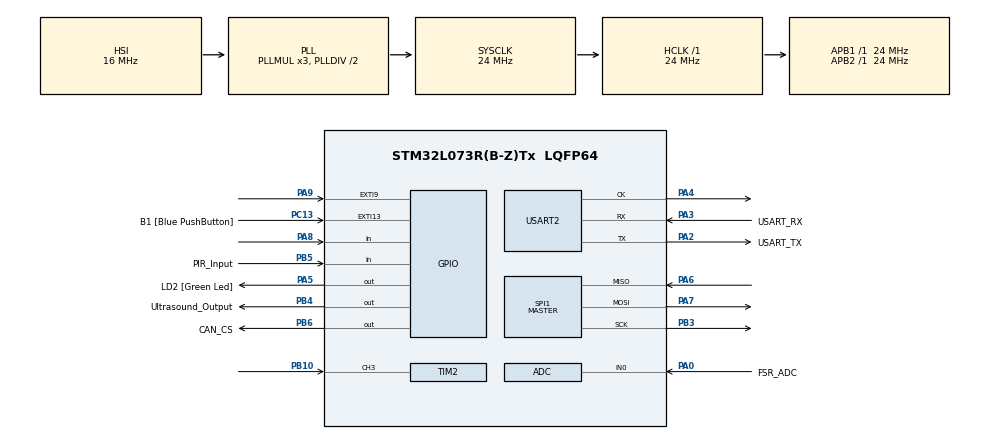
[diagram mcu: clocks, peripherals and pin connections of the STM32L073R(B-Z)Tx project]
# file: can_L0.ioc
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Mcu.Family=STM32L0
Mcu.Name=STM32L073R(B-Z)Tx
Mcu.Package=LQFP64
NVIC.TIM2_IRQn=true\:0\:0\:false\:false\:true\:true\:true\:true
NVIC.TIM3_IRQn=true\:0\:0\:false\:false\:true\:true\:true\:true
PA0.GPIO_Label=FSR_ADC
PA0.Mode=IN0
PA0.Signal=ADC_IN0
PA13.GPIO_Label=TMS
PA13.Mode=Serial_Wire
PA13.Signal=SYS_SWDIO
PA14.GPIO_Label=TCK
PA14.Mode=Serial_Wire
PA14.Signal=SYS_SWCLK
PA2.GPIO_Label=USART_TX
PA2.Mode=Synchronous
PA2.Signal=USART2_TX
PA3.GPIO_Label=USART_RX
PA3.Mode=Synchronous
PA3.Signal=USART2_RX
PA4.Mode=Synchronous
PA4.Signal=USART2_CK
PA5.GPIO_Label=LD2 [Green Led]
PA5.Signal=GPIO_Output
PA6.Mode=Full_Duplex_Master
PA6.Signal=SPI1_MISO
PA7.Mode=Full_Duplex_Master
PA7.Signal=SPI1_MOSI
PA8.Signal=GPIO_Input
PA9.Signal=GPXTI9
PB10.Signal=S_TIM2_CH3
PB3.Mode=Full_Duplex_Master
PB3.Signal=SPI1_SCK
PB4.GPIO_Label=Ultrasound_Output
PB4.Signal=GPIO_Output
PB5.GPIO_Label=PIR_Input
PB5.Signal=GPIO_Input
PB6.GPIO_Label=CAN_CS
PB6.GPIO_Speed=GPIO_SPEED_FREQ_MEDIUM
PB6.PinState=GPIO_PIN_SET
PB6.Signal=GPIO_Output
PC13.GPIO_Label=B1 [Blue PushButton]
PC13.GPIO_ModeDefaultEXTI=GPIO_MODE_IT_FALLING
PC13.Signal=GPXTI13
PC14-OSC32_IN.Mode=LSE-External-Oscillator
PC14-OSC32_IN.Signal=RCC_OSC32_IN
PC15-OSC32_OUT.Mode=LSE-External-Oscillator
PC15-OSC32_OUT.Signal=RCC_OSC32_OUT
PH0-OSC_IN.GPIO_Label=MCO
PH0-OSC_IN.Mode=HSE-External-Clock-Source
PH0-OSC_IN.Signal=RCC_OSC_IN
ProjectManager.HeapSize=0x200
ProjectManager.StackSize=0x400
ProjectManager.TargetToolchain=MDK-ARM V5.32
RCC.AHBFreq_Value=24000000
RCC.APB1Freq_Value=24000000
RCC.APB1TimFreq_Value=24000000
RCC.APB2Freq_Value=24000000
RCC.APB2TimFreq_Value=24000000
RCC.HCLKFreq_Value=24000000
RCC.HSE_VALUE=8000000
RCC.HSI16_VALUE=16000000
RCC.HSI48_VALUE=48000000
RCC.HSI_VALUE=16000000
RCC.MSI_VALUE=2097000
RCC.SYSCLKFreq_VALUE=24000000
RCC.SYSCLKSource=RCC_SYSCLKSOURCE_PLLCLK
RCC.VCOOutputFreq_Value=48000000
SH.S_TIM2_CH3.0=TIM2_CH3,Input_Capture3_from_TI3
SPI1.Direction=SPI_DIRECTION_2LINES
SPI1.Mode=SPI_MODE_MASTER
SPI1.VirtualType=VM_MASTER
TIM2.Channel-Input_Capture3_from_TI3=TIM_CHANNEL_3
TIM2.Prescaler=8-1
TIM3.Period=1000-1
TIM3.Prescaler=24000-1
USART2.VirtualMode-Synchronous=VM_SYNC
VP_TIM2_VS_ClockSourceINT.Mode=Internal
VP_TIM3_VS_ClockSourceINT.Mode=Internal
board=NUCLEO-L073RZ

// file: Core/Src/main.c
/* USER CODE BEGIN Header */
/**
  ******************************************************************************
  * @file           : main.c
  * @brief          : Main program body
  ******************************************************************************
  * @attention
  *
  * Copyright (c) 2025 STMicroelectronics.
  * All rights reserved.
  *
  * This software is licensed under terms that can be found in the LICENSE file
  * in the root directory of this software component.
  * If no LICENSE file comes with this software, it is provided AS-IS.
  *
  ******************************************************************************
  */
/* USER CODE END Header */
#include "main.h"
#include "adc.h"
#include "spi.h"
#include "tim.h"
#include "usart.h"
#include "gpio.h"

/* USER CODE BEGIN Includes */
#include "CANSPI.h"
#include "MCP2515.h"
#include "stdio.h"
#include "string.h"
/* USER CODE END Includes */

/* USER CODE BEGIN PV */

volatile uCAN_MSG rxMessage;
extern ADC_HandleTypeDef hadc;
volatile uint32_t adcValue;
volatile float Vout;
volatile static float pressure = 0.0f;

volatile static uint8_t bReadHCSR501 = 0;
volatile static uint32_t IC_Val1 = 0;
volatile static uint32_t IC_Val2 = 0;
volatile static uint32_t Difference = 0;
volatile static uint8_t Is_First_Captured = 0;  // is the first value captured
volatile static uint8_t Distance  = 0;
volatile uint8_t DistanceReady = 0;
volatile uint16_t no_activity_counter = 0;
volatile uint8_t tim3_flag = 0;
/* USER CODE END PV */

void SystemClock_Config(void);
/* USER CODE BEGIN PFP */
void delay (uint16_t time);
void HAL_TIM_IC_CaptureCallback(TIM_HandleTypeDef *htim);
void HCSR04_Read(void);
uint8_t FSR_Check (void);
uint8_t Ultrasonic_Check(void);
void check_and_send(void);
void enter_sleep_mode(void);
/* USER CODE END PFP */

int main(void)
{

  /* MCU Configuration--------------------------------------------------------*/

  /* Reset of all peripherals, Initializes the Flash interface and the Systick. */
  HAL_Init();

  /* Configure the system clock */
  SystemClock_Config();

  /* Initialize all configured peripherals */
  MX_GPIO_Init();
  MX_SPI1_Init();
  MX_USART2_Init();
  MX_ADC_Init();
  MX_TIM2_Init();
  MX_TIM3_Init();
  /* USER CODE BEGIN 2 */
  CANSPI_Initialize();
	HAL_TIM_IC_Start_IT(&htim2, TIM_CHANNEL_3);
  HAL_TIM_Base_Start_IT(&htim3);

  /* USER CODE END 2 */

  /* Infinite loop */
  /* USER CODE BEGIN WHILE */
  while (1) {
    if (tim3_flag) {
      tim3_flag = 0;
      check_and_send();
    }
  }
    /* USER CODE END WHILE */

}

void SystemClock_Config(void)
{
  RCC_OscInitTypeDef RCC_OscInitStruct = {0};
  RCC_ClkInitTypeDef RCC_ClkInitStruct = {0};
  RCC_PeriphCLKInitTypeDef PeriphClkInit = {0};

  /** Configure the main internal regulator output voltage
  */
  __HAL_PWR_VOLTAGESCALING_CONFIG(PWR_REGULATOR_VOLTAGE_SCALE1);

  /** Initializes the RCC Oscillators according to the specified parameters
  * in the RCC_OscInitTypeDef structure.
  */
  RCC_OscInitStruct.OscillatorType = RCC_OSCILLATORTYPE_HSI;
  RCC_OscInitStruct.HSIState = RCC_HSI_ON;
  RCC_OscInitStruct.HSICalibrationValue = RCC_HSICALIBRATION_DEFAULT;
  RCC_OscInitStruct.PLL.PLLState = RCC_PLL_ON;
  RCC_OscInitStruct.PLL.PLLSource = RCC_PLLSOURCE_HSI;
  RCC_OscInitStruct.PLL.PLLMUL = RCC_PLLMUL_3;
  RCC_OscInitStruct.PLL.PLLDIV = RCC_PLLDIV_2;
  if (HAL_RCC_OscConfig(&RCC_OscInitStruct) != HAL_OK)
  {
    Error_Handler();
  }

  /** Initializes the CPU, AHB and APB buses clocks
  */
  RCC_ClkInitStruct.ClockType = RCC_CLOCKTYPE_HCLK|RCC_CLOCKTYPE_SYSCLK
                              |RCC_CLOCKTYPE_PCLK1|RCC_CLOCKTYPE_PCLK2;
  RCC_ClkInitStruct.SYSCLKSource = RCC_SYSCLKSOURCE_PLLCLK;
  RCC_ClkInitStruct.AHBCLKDivider = RCC_SYSCLK_DIV1;
  RCC_ClkInitStruct.APB1CLKDivider = RCC_HCLK_DIV1;
  RCC_ClkInitStruct.APB2CLKDivider = RCC_HCLK_DIV1;

  if (HAL_RCC_ClockConfig(&RCC_ClkInitStruct, FLASH_LATENCY_1) != HAL_OK)
  {
    Error_Handler();
  }
  PeriphClkInit.PeriphClockSelection = RCC_PERIPHCLK_USART2;
  PeriphClkInit.Usart2ClockSelection = RCC_USART2CLKSOURCE_PCLK1;
  if (HAL_RCCEx_PeriphCLKConfig(&PeriphClkInit) != HAL_OK)
  {
    Error_Handler();
  }
}

/* USER CODE BEGIN 4 */
void delay (uint16_t time)
{
    __HAL_TIM_SET_COUNTER(&htim2, 0);
    while (__HAL_TIM_GET_COUNTER (&htim2) < time);
}

void HAL_TIM_PeriodElapsedCallback(TIM_HandleTypeDef *htim)
{
  if(htim->Instance == htim3.Instance){
    tim3_flag= 1;
  }
}

void HAL_TIM_IC_CaptureCallback(TIM_HandleTypeDef *htim) // 초음파 센서 거리 계산 비동기 로직
{ // INT when detected Ultrasound sig
    if (htim->Channel == HAL_TIM_ACTIVE_CHANNEL_3)  // if the interrupt source is channel1
    {
        if (Is_First_Captured==0) // if the first value is not captured
        {
            IC_Val1 = HAL_TIM_ReadCapturedValue(htim, TIM_CHANNEL_3); // read the first value
            Is_First_Captured = 1;
            __HAL_TIM_SET_CAPTUREPOLARITY(htim, TIM_CHANNEL_3, TIM_INPUTCHANNELPOLARITY_FALLING);
        }
        else if (Is_First_Captured==1)   // if the first is already captured
        {
            IC_Val2 = HAL_TIM_ReadCapturedValue(htim, TIM_CHANNEL_3);  // read second value
            __HAL_TIM_SET_COUNTER(htim, 0);  // reset the counter

            if (IC_Val2 > IC_Val1)
            {
                Difference = IC_Val2-IC_Val1;
            }
            else if (IC_Val1 > IC_Val2)
            {
                Difference = (0xffff - IC_Val1) + IC_Val2;
            }

            Distance = Difference * .034/2;
            DistanceReady = 1;
            Is_First_Captured = 0;

            __HAL_TIM_SET_CAPTUREPOLARITY(htim, TIM_CHANNEL_3, TIM_INPUTCHANNELPOLARITY_RISING);
            __HAL_TIM_DISABLE_IT(&htim2, TIM_IT_CC3);
        }
    }
}

void enter_sleep_mode(void) {
  HAL_SuspendTick();
  HAL_PWR_EnterSLEEPMode(PWR_MAINREGULATOR_ON, PWR_SLEEPENTRY_WFI);
  HAL_ResumeTick();
}

void HCSR04_Read(void)
{
	HAL_GPIO_WritePin(GPIOB,GPIO_PIN_4,GPIO_PIN_SET);
	delay(10);
	HAL_GPIO_WritePin(GPIOB,GPIO_PIN_4,GPIO_PIN_RESET);

	__HAL_TIM_ENABLE_IT(&htim2, TIM_IT_CC3);
}

uint8_t Ultrasonic_Check(void) {
  DistanceReady = 0;
  HCSR04_Read();
  // 변화량으로 할지 말지 결정해야함.
  uint32_t timeout = 0;
  while (!DistanceReady && timeout < 200) {
      HAL_Delay(1);
      timeout++;
  }

  return (Distance < 100) ? 1 : 0;
}

uint8_t PIR_Check(void) {
  GPIO_PinState state = HAL_GPIO_ReadPin(GPIOB, GPIO_PIN_5);  // PIR 센서 핀
  return (state == GPIO_PIN_SET) ? 1 : 0;
}

uint8_t FSR_Check(void){
	HAL_ADC_Start(&hadc);
	HAL_ADC_PollForConversion(&hadc, 1000);
	adcValue = HAL_ADC_GetValue(&hadc); // ADC
	HAL_ADC_Stop(&hadc);

	Vout = (adcValue / 4095.0f) * 5.0f;    // VOUT  (5V )
	if (Vout < 1.0f) {
			pressure = 0.0f;
	} else if (Vout < 2.0f) {
			pressure = 200.0f;  // VOUT 2V 200g
	} else if (Vout < 3.0f) {
			pressure = 600.0f;  // VOUT 3V 600g
	} else {
			pressure = 800.0f;  // VOUT 5V 400g
	}

  return (pressure > 200) ? 1 : 0;
}

void check_and_send(void) {
  uint8_t fsr = FSR_Check();
  uint8_t pir = PIR_Check();
  uint8_t ultrasonic = Ultrasonic_Check();

  uint8_t result = fsr & (pir | ultrasonic); // Sensor Logic

  if(result) {
      uCAN_MSG txMessage;
      txMessage.frame.idType = dSTANDARD_CAN_MSG_ID_2_0B;
      txMessage.frame.id = 0x100;
      txMessage.frame.dlc = 8;
      txMessage.frame.data0 = 'W';
      txMessage.frame.data1 = 'A';
      txMessage.frame.data2 = 'K';
      txMessage.frame.data3 = 'E';
      txMessage.frame.data4 = 0;
      txMessage.frame.data5 = 0;
      txMessage.frame.data6 = 0;
      txMessage.frame.data7 = 0;

      CANSPI_Transmit(&txMessage);
      HAL_GPIO_TogglePin(GPIOA, GPIO_PIN_5);
      no_activity_counter = 0;
  }else {
    no_activity_counter++;
  }

  if (no_activity_counter >= 500) {
    no_activity_counter = 0;
    enter_sleep_mode();
  }
}

/* USER CODE END 4 */

void Error_Handler(void)
{
  __disable_irq();
  while (1)
  {
  }
}
